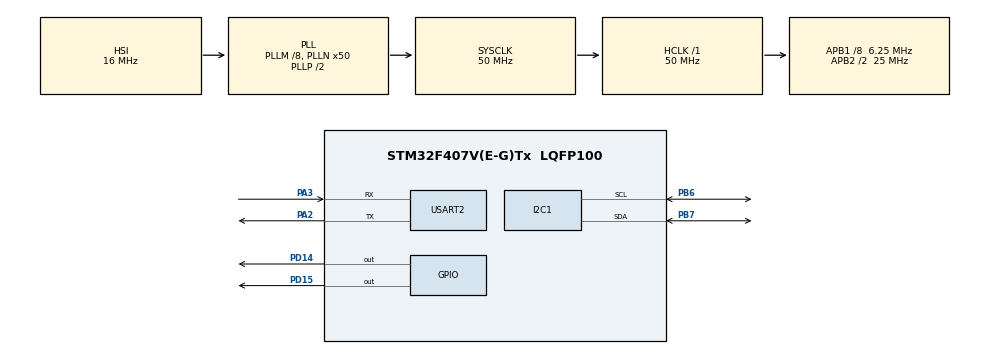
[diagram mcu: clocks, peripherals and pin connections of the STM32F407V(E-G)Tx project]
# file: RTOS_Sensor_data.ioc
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FREERTOS.INCLUDE_vTaskDelayUntil=1
FREERTOS.Tasks01=defaultTask,-3,128,StartDefaultTask,Default,NULL,Dynamic,NULL,NULL
FREERTOS.configUSE_NEWLIB_REENTRANT=1
Mcu.Family=STM32F4
Mcu.Name=STM32F407V(E-G)Tx
Mcu.Package=LQFP100
NVIC.I2C1_EV_IRQn=true\:5\:0\:false\:false\:true\:true\:true\:true\:true
NVIC.PriorityGroup=NVIC_PRIORITYGROUP_4
NVIC.TIM1_UP_TIM10_IRQn=true\:15\:0\:false\:false\:true\:false\:false\:true\:true
NVIC.TimeBase=TIM1_UP_TIM10_IRQn
NVIC.TimeBaseIP=TIM1
NVIC.USART2_IRQn=true\:5\:0\:false\:false\:true\:true\:true\:true\:true
PA2.Mode=Asynchronous
PA2.Signal=USART2_TX
PA3.Mode=Asynchronous
PA3.Signal=USART2_RX
PB6.Mode=I2C
PB6.Signal=I2C1_SCL
PB7.Mode=I2C
PB7.Signal=I2C1_SDA
PD14.Signal=GPIO_Output
PD15.Signal=GPIO_Output
ProjectManager.HeapSize=0x200
ProjectManager.StackSize=0x400
ProjectManager.TargetToolchain=STM32CubeIDE
RCC.48MHZClocksFreq_Value=14285714.285714285
RCC.AHBFreq_Value=50000000
RCC.APB1CLKDivider=RCC_HCLK_DIV8
RCC.APB1Freq_Value=6250000
RCC.APB1TimFreq_Value=12500000
RCC.APB2CLKDivider=RCC_HCLK_DIV2
RCC.APB2Freq_Value=25000000
RCC.APB2TimFreq_Value=50000000
RCC.CortexFreq_Value=50000000
RCC.HCLKFreq_Value=50000000
RCC.HSE_VALUE=8000000
RCC.HSI_VALUE=16000000
RCC.LSE_VALUE=32768
RCC.PLLM=8
RCC.PLLN=50
RCC.PLLQ=7
RCC.SYSCLKFreq_VALUE=50000000
RCC.SYSCLKSource=RCC_SYSCLKSOURCE_PLLCLK
RCC.VCOOutputFreq_Value=100000000
USART2.VirtualMode=VM_ASYNC
VP_FREERTOS_VS_CMSIS_V1.Mode=CMSIS_V1
VP_SYS_VS_tim1.Mode=TIM1
board=STM32F407G-DISC1

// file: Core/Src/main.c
/* USER CODE BEGIN Header */
/**
  ******************************************************************************
  * @file           : main.c
  * @brief          : Main program body
  ******************************************************************************
  * @attention
  *
  * Copyright (c) 2026 STMicroelectronics.
  * All rights reserved.
  *
  * This software is licensed under terms that can be found in the LICENSE file
  * in the root directory of this software component.
  * If no LICENSE file comes wHAL_OKith this software, it is provided AS-IS.
  *
  ******************************************************************************
  */
/* USER CODE END Header */
#include "main.h"
#include "cmsis_os.h"

/* USER CODE BEGIN Includes */
#include "stm32f4xx_hal.h"
#include "FreeRTOS.h"
#include "task.h"
#include "queue.h"
#include "apds.h"
#include "MY_SPI.h"
#include "MY_PIN.h"
#include "MY_MCP2515.h"
#include <string.h>
#include <stdio.h>
/* USER CODE END Includes */

/* USER CODE BEGIN PD */
#define APDS_QUEUE_LENGTH 5
#define APDS_QUEUE_ITEM_SIZE sizeof(APDS_Data_t)

/* USER CODE END PD */

I2C_HandleTypeDef hi2c1;

UART_HandleTypeDef huart2;

osThreadId defaultTaskHandle;
/* USER CODE BEGIN PV */
QueueHandle_t apdsQueue;

char uartBuf[64];

/* USER CODE END PV */

void SystemClock_Config(void);
static void MX_GPIO_Init(void);
static void MX_I2C1_Init(void);
static void MX_USART2_UART_Init(void);
void StartDefaultTask(void const * argument);

/* USER CODE BEGIN PFP */
void APDS_ReadTask(void *parameters);
void UART_SendTask(void *parameters);
void UART_Print(char *msg);
/* USER CODE END PFP */

/* USER CODE BEGIN 0 */
/*

/* UART Print helper */
void UART_Print(char *msg)
{
    HAL_UART_Transmit(&huart2, (uint8_t*)msg, strlen(msg), HAL_MAX_DELAY);
}

void APDS_ReadTask(void *parameters)
{
    APDS_Data_t data;
    vTaskDelay(pdMS_TO_TICKS(60)); // Wait for LED settle
	portTickType xPreviousWakeUpTime = xTaskGetTickCount();

    while(1)
    {
        /* Read proximity (8-bit) */
    	//HAL_GPIO_WritePin(GPIOD,GPIO_PIN_14, GPIO_PIN_SET);

        if(APDS_ReadProximity(&data.prox) != 0)
        	data.prox = 0;

        /* Read ALS (16-bit) */
        if(APDS_ReadALS(&data.als) != 0)
        {
        	data.als = 0;
        }
        /* Send to queue safely */
        xQueueSend(apdsQueue, &data, portMAX_DELAY);
    	//HAL_GPIO_WritePin(GPIOD,GPIO_PIN_14, GPIO_PIN_RESET);

		vTaskDelayUntil(&xPreviousWakeUpTime, 1000/portTICK_RATE_MS);
    }
    vTaskDelete(NULL);

}

/* Task 2: Send data over UART */
void UART_SendTask(void *parameters)
{
    APDS_Data_t data;
	portTickType xPreviousWakeUpTime = xTaskGetTickCount();
    while(1)
    {
        if(xQueueReceive(apdsQueue, &data, portMAX_DELAY) == pdTRUE)
        {
            sprintf(uartBuf, "Prox=%u ALS=%u\r\n", data.prox, data.als);
            HAL_UART_Transmit(&huart2, (uint8_t*)uartBuf, strlen(uartBuf), HAL_MAX_DELAY);
        }
		vTaskDelayUntil(&xPreviousWakeUpTime, 9000/portTICK_RATE_MS);
    }
    vTaskDelete(NULL);

}

void GPS(void *parameters)
{
	char buffer[128]; int index=0; char ch;
	char lat_str[32]="", lon_str[32]="", time_str[16]="", date_str[16]="";

//	UartInit(9600);
	UartPuts("GPS Test Started...\r\n");
	portTickType xPreviousWakeUpTime = xTaskGetTickCount();
    while(1)
    {
    	 ch = UartGetch();
    	        if(ch=='\n' || ch=='\r'){
    	            if(index==0) continue;

    	            buffer[index]='\0';
    	            buffer[strcspn(buffer,"\r")]='\0';

    	            if(!strncmp(buffer,"$GNGGA",6) || !strncmp(buffer,"$GPGGA",6)){
    	                parse_gga(buffer, lat_str, lon_str, time_str);

    	                // Print immediately using latest date
    	                UartPuts("Time: "); UartPuts(time_str); UartPuts("\r\n");
    	                UartPuts("Date: "); UartPuts(date_str); UartPuts("\r\n");
    	                UartPuts("Lat : "); UartPuts(lat_str); UartPuts("\r\n");
    	                UartPuts("Lon : "); UartPuts(lon_str); UartPuts("\r\n\r\n");
    	            }
    	            else if(!strncmp(buffer,"$GNRMC",6) || !strncmp(buffer,"$GPRMC",6)){
    	                parse_rmc(buffer, date_str);
    	            }

    	            index=0;
    	        } else if(index<sizeof(buffer)-1) buffer[index++]=ch;
		vTaskDelayUntil(&xPreviousWakeUpTime, 1000/portTICK_RATE_MS);
    }
    vTaskDelete(NULL);

}

/* Task 2: Send data over UART */
void MCP2515_SendTask(void *parameters)
{
	APDS_Data_t data;
//	uint8_t tx_data[] = {0x11, 0x32, 0x44, 0x33};
//	uint8_t tx_data1[] = {0x41, 0x92, 0x04, 0x13};
	SPI_INIT();
	MCP2515_INIT();
	uint8_t tx_data2[] = {0x00, 0x00, 0x99, 0x29};
	portTickType xPreviousWakeUpTime = xTaskGetTickCount();
    while(1)
    {
    	xQueueReceive(apdsQueue, &data, portMAX_DELAY);
    	tx_data2[0] = data.prox;
    	tx_data2[1] = data.als;
//		MCP2515_TX_MSG(0x123, 4, tx_data);
//		DelayMs(3000);
//		MCP2515_TX_MSG(0x123, 4, tx_data1);
//		DelayMs(3000);
		MCP2515_TX_MSG(0x123, 4, tx_data2);
		vTaskDelayUntil(&xPreviousWakeUpTime, 3000/portTICK_RATE_MS);
    }
    vTaskDelete(NULL);

}

/* USER CODE END 0 */

int main(void)
{

  /* MCU Configuration--------------------------------------------------------*/

  /* Reset of all peripherals, Initializes the Flash interface and the Systick. */
  HAL_Init();

  /* Configure the system clock */
  SystemClock_Config();

  /* Initialize all configured peripherals */
  MX_GPIO_Init();
  MX_I2C1_Init();
  MX_USART2_UART_Init();

  /* USER CODE BEGIN 2 */

  /* Initialize APDS sensor */
  if(APDS_Init() != HAL_OK)
  {
      char err[] = "APDS init failed!\r\n";
      HAL_UART_Transmit(&huart2, (uint8_t*)err, strlen(err), HAL_MAX_DELAY);
      while(1);
  }
  UART_Print("APDS Initialized!\r\n");

  /* USER CODE END 2 */

  /* USER CODE BEGIN RTOS_QUEUES */
  apdsQueue = xQueueCreate(APDS_QUEUE_LENGTH, sizeof(APDS_Data_t));
      if(apdsQueue == NULL)
      {
          UART_Print("Queue creation failed!\r\n");
          while(1);
      }
  /* USER CODE END RTOS_QUEUES */

  /* Create the thread(s) */
  /* definition and creation of defaultTask */
  osThreadDef(defaultTask, StartDefaultTask, osPriorityIdle, 0, 128);
  defaultTaskHandle = osThreadCreate(osThread(defaultTask), NULL);

  /* USER CODE BEGIN RTOS_THREADS */

  xTaskCreate(APDS_ReadTask, "APDS_Read", configMINIMAL_STACK_SIZE, NULL, 2, NULL);
  xTaskCreate(UART_SendTask, "UART_Send", configMINIMAL_STACK_SIZE, NULL, 1, NULL);
  xTaskCreate(MCP2515_SendTask, "MCP2515_Send", configMINIMAL_STACK_SIZE, NULL, 3, NULL);

  /* USER CODE END RTOS_THREADS */

  /* Start scheduler */
  osKernelStart();

  /* We should never get here as control is now taken by the scheduler */

  /* Infinite loop */
  while (1)
  {

  }
}

void SystemClock_Config(void)
{
  RCC_OscInitTypeDef RCC_OscInitStruct = {0};
  RCC_ClkInitTypeDef RCC_ClkInitStruct = {0};

  /** Configure the main internal regulator output voltage
  */
  __HAL_RCC_PWR_CLK_ENABLE();
  __HAL_PWR_VOLTAGESCALING_CONFIG(PWR_REGULATOR_VOLTAGE_SCALE1);

  /** Initializes the RCC Oscillators according to the specified parameters
  * in the RCC_OscInitTypeDef structure.
  */
  RCC_OscInitStruct.OscillatorType = RCC_OSCILLATORTYPE_HSI;
  RCC_OscInitStruct.HSIState = RCC_HSI_ON;
  RCC_OscInitStruct.HSICalibrationValue = RCC_HSICALIBRATION_DEFAULT;
  RCC_OscInitStruct.PLL.PLLState = RCC_PLL_ON;
  RCC_OscInitStruct.PLL.PLLSource = RCC_PLLSOURCE_HSI;
  RCC_OscInitStruct.PLL.PLLM = 8;
  RCC_OscInitStruct.PLL.PLLN = 50;
  RCC_OscInitStruct.PLL.PLLP = RCC_PLLP_DIV2;
  RCC_OscInitStruct.PLL.PLLQ = 7;
  if (HAL_RCC_OscConfig(&RCC_OscInitStruct) != HAL_OK)
  {
    Error_Handler();
  }

  /** Initializes the CPU, AHB and APB buses clocks
  */
  RCC_ClkInitStruct.ClockType = RCC_CLOCKTYPE_HCLK|RCC_CLOCKTYPE_SYSCLK
                              |RCC_CLOCKTYPE_PCLK1|RCC_CLOCKTYPE_PCLK2;
  RCC_ClkInitStruct.SYSCLKSource = RCC_SYSCLKSOURCE_PLLCLK;
  RCC_ClkInitStruct.AHBCLKDivider = RCC_SYSCLK_DIV1;
  RCC_ClkInitStruct.APB1CLKDivider = RCC_HCLK_DIV8;
  RCC_ClkInitStruct.APB2CLKDivider = RCC_HCLK_DIV2;

  if (HAL_RCC_ClockConfig(&RCC_ClkInitStruct, FLASH_LATENCY_1) != HAL_OK)
  {
    Error_Handler();
  }
}

static void MX_I2C1_Init(void)
{

  hi2c1.Instance = I2C1;
  hi2c1.Init.ClockSpeed = 100000;
  hi2c1.Init.DutyCycle = I2C_DUTYCYCLE_2;
  hi2c1.Init.OwnAddress1 = 0;
  hi2c1.Init.AddressingMode = I2C_ADDRESSINGMODE_7BIT;
  hi2c1.Init.DualAddressMode = I2C_DUALADDRESS_DISABLE;
  hi2c1.Init.OwnAddress2 = 0;
  hi2c1.Init.GeneralCallMode = I2C_GENERALCALL_DISABLE;
  hi2c1.Init.NoStretchMode = I2C_NOSTRETCH_DISABLE;
  if (HAL_I2C_Init(&hi2c1) != HAL_OK)
  {
    Error_Handler();
  }

}

static void MX_USART2_UART_Init(void)
{

  huart2.Instance = USART2;
  huart2.Init.BaudRate = 115200;
  huart2.Init.WordLength = UART_WORDLENGTH_8B;
  huart2.Init.StopBits = UART_STOPBITS_1;
  huart2.Init.Parity = UART_PARITY_NONE;
  huart2.Init.Mode = UART_MODE_TX_RX;
  huart2.Init.HwFlowCtl = UART_HWCONTROL_NONE;
  huart2.Init.OverSampling = UART_OVERSAMPLING_16;
  if (HAL_UART_Init(&huart2) != HAL_OK)
  {
    Error_Handler();
  }

}

static void MX_GPIO_Init(void)
{
  GPIO_InitTypeDef GPIO_InitStruct = {0};

  /* GPIO Ports Clock Enable */
  __HAL_RCC_GPIOA_CLK_ENABLE();
  __HAL_RCC_GPIOD_CLK_ENABLE();
  __HAL_RCC_GPIOB_CLK_ENABLE();

  /*Configure GPIO pin Output Level */
  HAL_GPIO_WritePin(GPIOD, GPIO_PIN_14|GPIO_PIN_15, GPIO_PIN_RESET);

  /*Configure GPIO pins : PD14 PD15 */
  GPIO_InitStruct.Pin = GPIO_PIN_14|GPIO_PIN_15;
  GPIO_InitStruct.Mode = GPIO_MODE_OUTPUT_PP;
  GPIO_InitStruct.Pull = GPIO_NOPULL;
  GPIO_InitStruct.Speed = GPIO_SPEED_FREQ_LOW;
  HAL_GPIO_Init(GPIOD, &GPIO_InitStruct);

}

void StartDefaultTask(void const * argument)
{
  for(;;)
  {
    osDelay(1);
  }
}

void HAL_TIM_PeriodElapsedCallback(TIM_HandleTypeDef *htim)
{
  if (htim->Instance == TIM1)
  {
    HAL_IncTick();
  }
}

void Error_Handler(void)
{
  __disable_irq();
  while (1)
  {
  }
}
